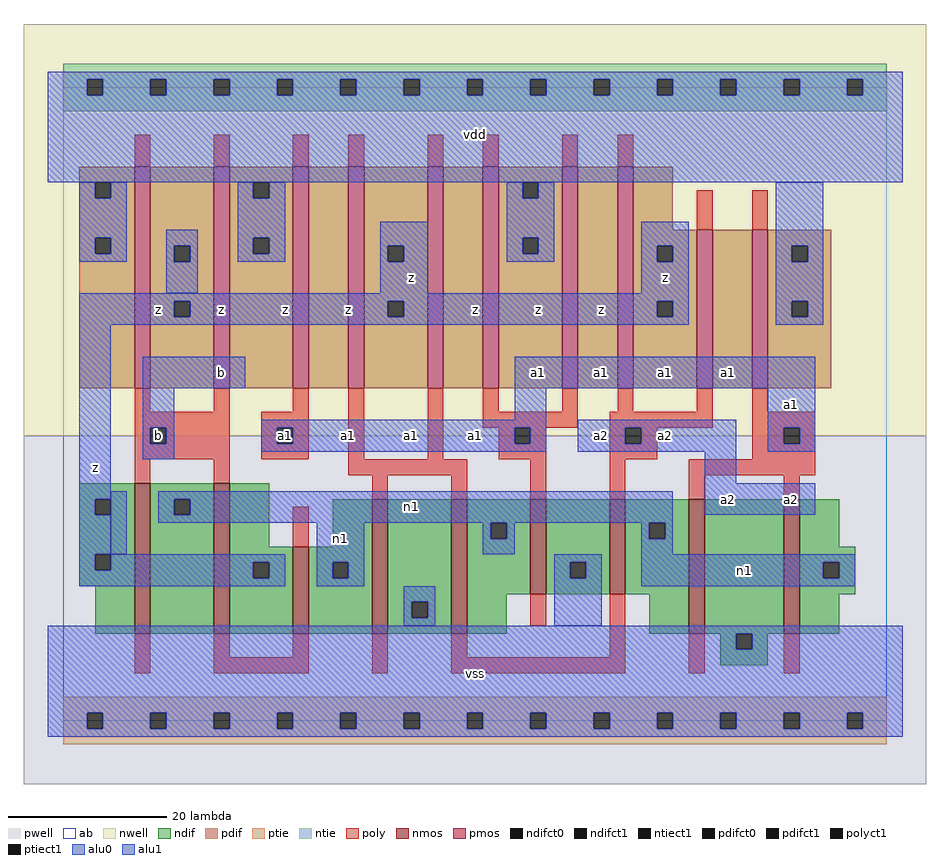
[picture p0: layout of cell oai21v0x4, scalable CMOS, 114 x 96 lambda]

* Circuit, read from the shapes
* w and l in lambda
.subckt oai21v0x4 a1 a2 b n1 vdd vss z
M1 n1 b z vss nfet w=19 l=2 m=2
M2 n1 b z vss nfet w=11 l=2
M3 vss a2 n1 vss nfet w=17 l=2 m=2
M4 vss a1 n1 vss nfet w=12 l=2
M5 n1 a2 vss vss nfet w=12 l=2
M6 vss a1 n1 vss nfet w=17 l=2 m=2
M7 z b vdd vdd pfet w=28 l=2 m=2
M8 n2 a1 vdd vdd pfet w=28 l=2
M9 z a2 n2 vdd pfet w=28 l=2
M10 n3 a2 z vdd pfet w=28 l=2
M11 vdd a1 n3 vdd pfet w=28 l=2
M12 n4 a1 vdd vdd pfet w=28 l=2
M13 z a2 n4 vdd pfet w=28 l=2
M14 n5 a2 z vdd pfet w=20 l=2
M15 vdd a1 n5 vdd pfet w=20 l=2
.ends

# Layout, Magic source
magic
tech scmos
<< ab >>
rect 0 0 104 80
<< nwell >>
rect -5 36 109 88
<< pwell >>
rect -5 -8 109 36
<< poly >>
rect 9 70 11 74
rect 19 70 21 74
rect 29 70 31 74
rect 36 70 38 74
rect 46 70 48 74
rect 53 70 55 74
rect 63 70 65 74
rect 70 70 72 74
rect 80 62 82 67
rect 87 62 89 67
rect 9 39 11 42
rect 19 39 21 42
rect 29 39 31 42
rect 9 37 21 39
rect 9 35 11 37
rect 13 35 21 37
rect 9 33 21 35
rect 25 37 31 39
rect 25 35 27 37
rect 29 35 31 37
rect 25 33 31 35
rect 36 33 38 42
rect 46 33 48 42
rect 53 39 55 42
rect 63 39 65 42
rect 70 39 72 42
rect 80 39 82 42
rect 53 37 65 39
rect 69 37 82 39
rect 87 39 89 42
rect 87 37 95 39
rect 55 35 57 37
rect 59 35 61 37
rect 55 33 61 35
rect 9 30 11 33
rect 19 30 21 33
rect 36 31 51 33
rect 39 28 41 31
rect 49 28 51 31
rect 59 28 61 33
rect 69 35 71 37
rect 73 35 75 37
rect 69 33 75 35
rect 87 35 91 37
rect 93 35 95 37
rect 87 33 95 35
rect 69 28 71 33
rect 79 31 95 33
rect 79 28 81 31
rect 91 28 93 31
rect 29 22 31 27
rect 59 12 61 16
rect 9 6 11 11
rect 19 8 21 11
rect 29 8 31 11
rect 19 6 31 8
rect 39 6 41 11
rect 49 8 51 11
rect 69 8 71 16
rect 49 6 71 8
rect 79 6 81 11
rect 91 6 93 11
<< ndif >>
rect 2 28 9 30
rect 2 26 4 28
rect 6 26 9 28
rect 2 21 9 26
rect 2 19 4 21
rect 6 19 9 21
rect 2 17 9 19
rect 4 11 9 17
rect 11 28 19 30
rect 11 26 14 28
rect 16 26 19 28
rect 11 11 19 26
rect 21 22 26 30
rect 34 22 39 28
rect 21 20 29 22
rect 21 18 24 20
rect 26 18 29 20
rect 21 11 29 18
rect 31 20 39 22
rect 31 18 34 20
rect 36 18 39 20
rect 31 11 39 18
rect 41 15 49 28
rect 41 13 44 15
rect 46 13 49 15
rect 41 11 49 13
rect 51 25 59 28
rect 51 23 54 25
rect 56 23 59 25
rect 51 16 59 23
rect 61 20 69 28
rect 61 18 64 20
rect 66 18 69 20
rect 61 16 69 18
rect 71 25 79 28
rect 71 23 74 25
rect 76 23 79 25
rect 71 16 79 23
rect 51 11 56 16
rect 74 11 79 16
rect 81 11 91 28
rect 93 22 98 28
rect 93 20 100 22
rect 93 18 96 20
rect 98 18 100 20
rect 93 16 100 18
rect 93 11 98 16
rect 83 9 85 11
rect 87 9 89 11
rect 83 7 89 9
<< pdif >>
rect 2 68 9 70
rect 2 66 4 68
rect 6 66 9 68
rect 2 61 9 66
rect 2 59 4 61
rect 6 59 9 61
rect 2 42 9 59
rect 11 60 19 70
rect 11 58 14 60
rect 16 58 19 60
rect 11 53 19 58
rect 11 51 14 53
rect 16 51 19 53
rect 11 42 19 51
rect 21 68 29 70
rect 21 66 24 68
rect 26 66 29 68
rect 21 61 29 66
rect 21 59 24 61
rect 26 59 29 61
rect 21 42 29 59
rect 31 42 36 70
rect 38 60 46 70
rect 38 58 41 60
rect 43 58 46 60
rect 38 53 46 58
rect 38 51 41 53
rect 43 51 46 53
rect 38 42 46 51
rect 48 42 53 70
rect 55 68 63 70
rect 55 66 58 68
rect 60 66 63 68
rect 55 61 63 66
rect 55 59 58 61
rect 60 59 63 61
rect 55 42 63 59
rect 65 42 70 70
rect 72 62 77 70
rect 72 60 80 62
rect 72 58 75 60
rect 77 58 80 60
rect 72 53 80 58
rect 72 51 75 53
rect 77 51 80 53
rect 72 42 80 51
rect 82 42 87 62
rect 89 60 97 62
rect 89 58 92 60
rect 94 58 97 60
rect 89 53 97 58
rect 89 51 92 53
rect 94 51 97 53
rect 89 42 97 51
<< alu1 >>
rect -2 81 106 82
rect -2 79 3 81
rect 5 79 11 81
rect 13 79 19 81
rect 21 79 27 81
rect 29 79 35 81
rect 37 79 43 81
rect 45 79 51 81
rect 53 79 59 81
rect 61 79 67 81
rect 69 79 75 81
rect 77 79 83 81
rect 85 79 91 81
rect 93 79 99 81
rect 101 79 106 81
rect -2 68 106 79
rect 40 60 46 63
rect 40 58 41 60
rect 43 58 46 60
rect 73 60 79 63
rect 73 58 75 60
rect 77 58 79 60
rect 40 54 46 58
rect 73 54 79 58
rect 2 53 79 54
rect 2 51 14 53
rect 16 51 41 53
rect 43 51 75 53
rect 77 51 79 53
rect 2 50 79 51
rect 2 28 6 50
rect 10 42 23 46
rect 57 42 95 46
rect 10 37 14 42
rect 57 38 61 42
rect 10 35 11 37
rect 13 35 14 37
rect 10 33 14 35
rect 25 37 61 38
rect 25 35 27 37
rect 29 35 57 37
rect 59 35 61 37
rect 25 34 61 35
rect 65 37 85 38
rect 65 35 71 37
rect 73 35 85 37
rect 65 34 85 35
rect 89 37 95 42
rect 89 35 91 37
rect 93 35 95 37
rect 89 34 95 35
rect 81 30 85 34
rect 2 26 4 28
rect 2 21 6 26
rect 81 26 95 30
rect 2 19 4 21
rect 6 20 28 21
rect 6 19 24 20
rect 2 18 24 19
rect 26 18 28 20
rect 2 17 28 18
rect -2 11 106 12
rect -2 9 85 11
rect 87 9 106 11
rect -2 1 106 9
rect -2 -1 3 1
rect 5 -1 11 1
rect 13 -1 19 1
rect 21 -1 27 1
rect 29 -1 35 1
rect 37 -1 43 1
rect 45 -1 51 1
rect 53 -1 59 1
rect 61 -1 67 1
rect 69 -1 75 1
rect 77 -1 83 1
rect 85 -1 91 1
rect 93 -1 99 1
rect 101 -1 106 1
rect -2 -2 106 -1
<< ptie >>
rect 0 1 104 3
rect 0 -1 3 1
rect 5 -1 11 1
rect 13 -1 19 1
rect 21 -1 27 1
rect 29 -1 35 1
rect 37 -1 43 1
rect 45 -1 51 1
rect 53 -1 59 1
rect 61 -1 67 1
rect 69 -1 75 1
rect 77 -1 83 1
rect 85 -1 91 1
rect 93 -1 99 1
rect 101 -1 104 1
rect 0 -3 104 -1
<< ntie >>
rect 0 81 104 83
rect 0 79 3 81
rect 5 79 11 81
rect 13 79 19 81
rect 21 79 27 81
rect 29 79 35 81
rect 37 79 43 81
rect 45 79 51 81
rect 53 79 59 81
rect 61 79 67 81
rect 69 79 75 81
rect 77 79 83 81
rect 85 79 91 81
rect 93 79 99 81
rect 101 79 104 81
rect 0 77 104 79
<< nmos >>
rect 9 11 11 30
rect 19 11 21 30
rect 29 11 31 22
rect 39 11 41 28
rect 49 11 51 28
rect 59 16 61 28
rect 69 16 71 28
rect 79 11 81 28
rect 91 11 93 28
<< pmos >>
rect 9 42 11 70
rect 19 42 21 70
rect 29 42 31 70
rect 36 42 38 70
rect 46 42 48 70
rect 53 42 55 70
rect 63 42 65 70
rect 70 42 72 70
rect 80 42 82 62
rect 87 42 89 62
<< polyct1 >>
rect 11 35 13 37
rect 27 35 29 37
rect 57 35 59 37
rect 71 35 73 37
rect 91 35 93 37
<< ndifct0 >>
rect 14 26 16 28
rect 34 18 36 20
rect 44 13 46 15
rect 54 23 56 25
rect 64 18 66 20
rect 74 23 76 25
rect 96 18 98 20
<< ndifct1 >>
rect 4 26 6 28
rect 4 19 6 21
rect 24 18 26 20
rect 85 9 87 11
<< ntiect1 >>
rect 3 79 5 81
rect 11 79 13 81
rect 19 79 21 81
rect 27 79 29 81
rect 35 79 37 81
rect 43 79 45 81
rect 51 79 53 81
rect 59 79 61 81
rect 67 79 69 81
rect 75 79 77 81
rect 83 79 85 81
rect 91 79 93 81
rect 99 79 101 81
<< ptiect1 >>
rect 3 -1 5 1
rect 11 -1 13 1
rect 19 -1 21 1
rect 27 -1 29 1
rect 35 -1 37 1
rect 43 -1 45 1
rect 51 -1 53 1
rect 59 -1 61 1
rect 67 -1 69 1
rect 75 -1 77 1
rect 83 -1 85 1
rect 91 -1 93 1
rect 99 -1 101 1
<< pdifct0 >>
rect 4 66 6 68
rect 4 59 6 61
rect 14 58 16 60
rect 24 66 26 68
rect 24 59 26 61
rect 58 66 60 68
rect 58 59 60 61
rect 92 58 94 60
rect 92 51 94 53
<< pdifct1 >>
rect 14 51 16 53
rect 41 58 43 60
rect 41 51 43 53
rect 75 58 77 60
rect 75 51 77 53
<< alu0 >>
rect 2 66 4 68
rect 6 66 8 68
rect 2 61 8 66
rect 22 66 24 68
rect 26 66 28 68
rect 2 59 4 61
rect 6 59 8 61
rect 2 58 8 59
rect 13 60 17 62
rect 13 58 14 60
rect 16 58 17 60
rect 22 61 28 66
rect 56 66 58 68
rect 60 66 62 68
rect 22 59 24 61
rect 26 59 28 61
rect 22 58 28 59
rect 56 61 62 66
rect 56 59 58 61
rect 60 59 62 61
rect 56 58 62 59
rect 13 54 17 58
rect 90 60 96 68
rect 90 58 92 60
rect 94 58 96 60
rect 90 53 96 58
rect 90 51 92 53
rect 94 51 96 53
rect 90 50 96 51
rect 6 21 8 29
rect 12 28 77 29
rect 12 26 14 28
rect 16 26 77 28
rect 12 25 77 26
rect 32 20 38 25
rect 53 23 54 25
rect 56 23 57 25
rect 53 21 57 23
rect 73 23 74 25
rect 76 23 77 25
rect 73 21 77 23
rect 32 18 34 20
rect 36 18 38 20
rect 32 17 38 18
rect 62 20 68 21
rect 62 18 64 20
rect 66 18 68 20
rect 43 15 47 17
rect 43 13 44 15
rect 46 13 47 15
rect 43 12 47 13
rect 62 12 68 18
rect 73 20 100 21
rect 73 18 96 20
rect 98 18 100 20
rect 73 17 100 18
<< labels >>
rlabel alu0 35 23 35 23 6 n1
rlabel alu0 44 27 44 27 6 n1
rlabel alu0 86 19 86 19 6 n1
rlabel alu1 4 32 4 32 6 z
rlabel polyct1 12 36 12 36 6 b
rlabel alu1 12 52 12 52 6 z
rlabel alu1 20 44 20 44 6 b
rlabel alu1 36 36 36 36 6 a1
rlabel polyct1 28 36 28 36 6 a1
rlabel alu1 36 52 36 52 6 z
rlabel alu1 28 52 28 52 6 z
rlabel alu1 20 52 20 52 6 z
rlabel alu1 52 6 52 6 6 vss
rlabel alu1 44 36 44 36 6 a1
rlabel alu1 60 44 60 44 6 a1
rlabel alu1 52 36 52 36 6 a1
rlabel alu1 60 52 60 52 6 z
rlabel alu1 52 52 52 52 6 z
rlabel alu1 44 56 44 56 6 z
rlabel alu1 52 74 52 74 6 vdd
rlabel alu1 76 44 76 44 6 a1
rlabel alu1 76 36 76 36 6 a2
rlabel alu1 68 44 68 44 6 a1
rlabel alu1 68 36 68 36 6 a2
rlabel alu1 68 52 68 52 6 z
rlabel alu1 76 56 76 56 6 z
rlabel alu1 84 28 84 28 6 a2
rlabel alu1 92 28 92 28 6 a2
rlabel alu1 84 44 84 44 6 a1
rlabel alu1 92 40 92 40 6 a1
<< end >>
